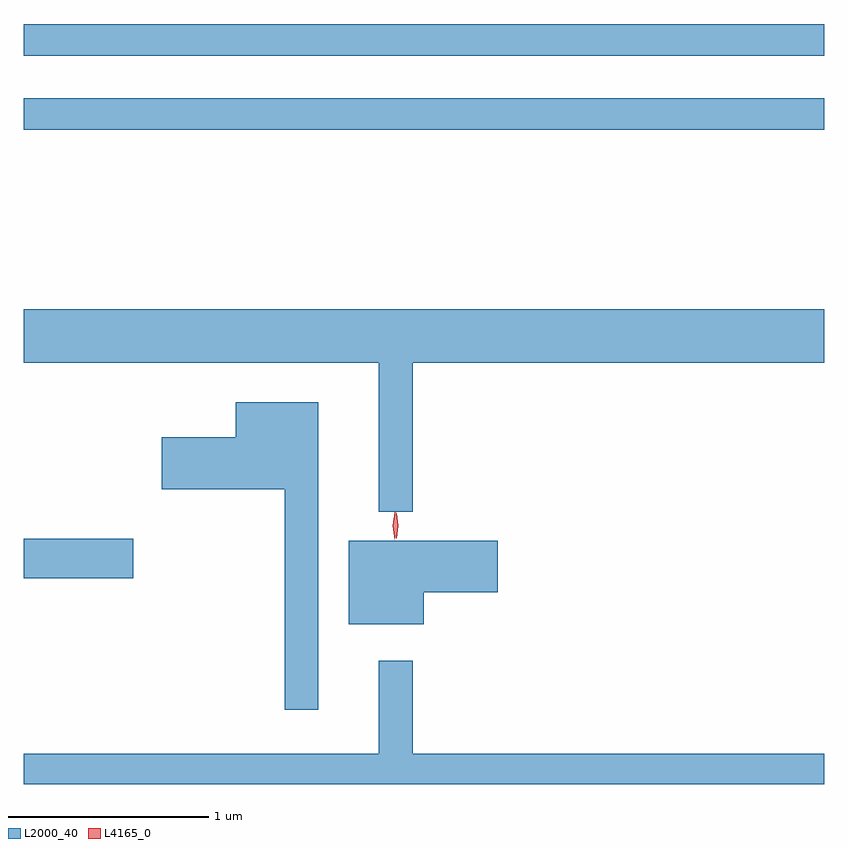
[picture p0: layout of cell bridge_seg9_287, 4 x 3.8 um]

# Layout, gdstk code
import gdstk
lib = gdstk.Library(unit=1e-6, precision=1e-09)
def R(c, l, rs):  # rectangles x0, y0, x1, y1
    for r in rs: c.add(gdstk.rectangle(r[:2], r[2:], *l))
def P(c, l, *ps):  # polygons
    for p in ps: c.add(gdstk.Polygon(p, *l))
L2000_40 = (2000, 40)
L4165_0 = (4165, 0)

bridge_seg9_287 = lib.new_cell('bridge_seg9_287')
R(bridge_seg9_287, L2000_40, [(1000.486,2019.601,1001.034,2019.799), (1000.486,2021.841,1004.486,2021.999), (1000.486,2022.211,1004.486,2022.369)])
P(bridge_seg9_287, L2000_40, [(1002.429,2020.676),(1004.486,2020.676),(1004.486,2020.944),(1000.486,2020.944),(1000.486,2020.676),(1002.261,2020.676),(1002.261,2019.933),(1002.429,2019.933)],
  [(1001.959,2020.479),(1001.546,2020.479),(1001.546,2020.304),(1001.176,2020.304),(1001.176,2020.046),(1001.791,2020.046),(1001.791,2018.943),(1001.959,2018.943)],
  [(1002.484,2019.531),(1002.854,2019.531),(1002.854,2019.789),(1002.111,2019.789),(1002.111,2019.371),(1002.484,2019.371)],
  [(1004.486,2018.724),(1002.429,2018.724),(1002.429,2019.188),(1002.261,2019.188),(1002.261,2018.724),(1000.486,2018.724),(1000.486,2018.573),(1004.486,2018.573)])
P(bridge_seg9_287, L4165_0, [(1002.339,2019.794),(1002.339,2019.794),(1002.33,2019.862),(1002.341,2019.93),(1002.341,2019.93),(1002.342,2019.93),(1002.35,2019.862),(1002.34,2019.794)],
  [(1002.348,2019.8),(1002.348,2019.8),(1002.338,2019.863),(1002.348,2019.926),(1002.348,2019.927),(1002.349,2019.926),(1002.358,2019.863),(1002.349,2019.8)])

lib.write_gds('bridge_seg9_287.gds')
